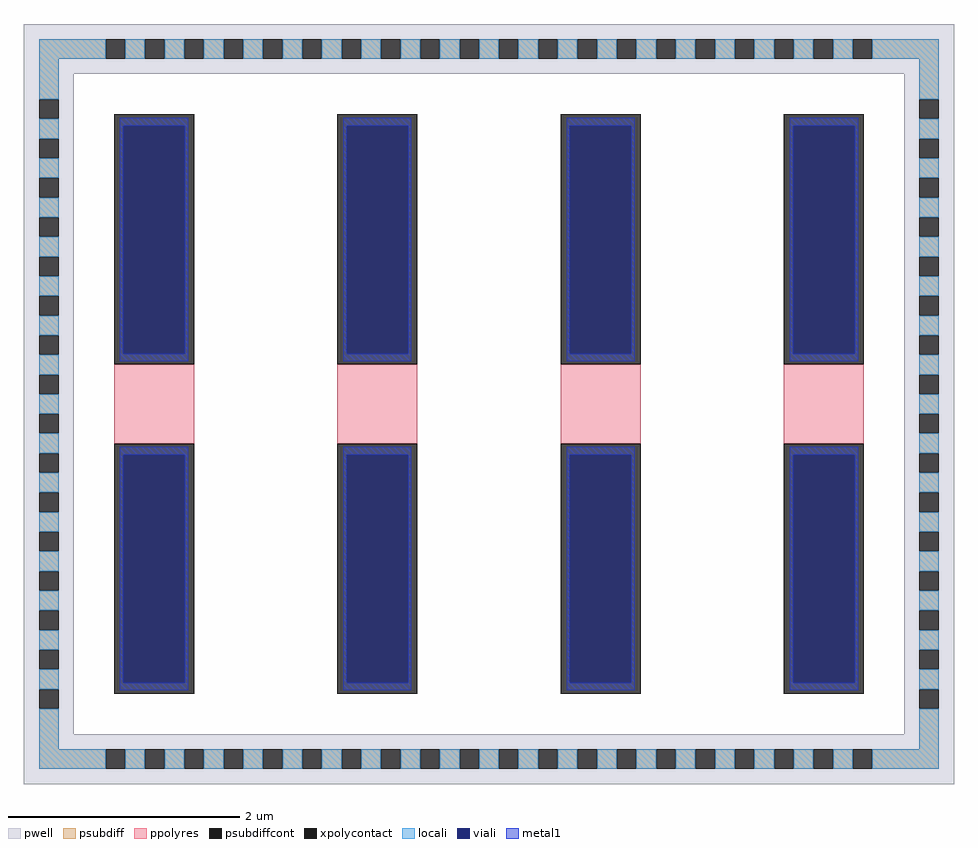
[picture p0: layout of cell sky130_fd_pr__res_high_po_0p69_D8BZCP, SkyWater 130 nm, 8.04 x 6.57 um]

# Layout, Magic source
magic
tech sky130A
magscale 1 2
<< pwell >>
rect -804 571 804 657
rect -804 -571 -718 571
rect 718 -571 804 571
rect -804 -657 804 -571
<< psubdiff >>
rect -778 597 -663 631
rect -629 597 -595 631
rect -561 597 -527 631
rect -493 597 -459 631
rect -425 597 -391 631
rect -357 597 -323 631
rect -289 597 -255 631
rect -221 597 -187 631
rect -153 597 -119 631
rect -85 597 -51 631
rect -17 597 17 631
rect 51 597 85 631
rect 119 597 153 631
rect 187 597 221 631
rect 255 597 289 631
rect 323 597 357 631
rect 391 597 425 631
rect 459 597 493 631
rect 527 597 561 631
rect 595 597 629 631
rect 663 597 778 631
rect -778 527 -744 597
rect 744 527 778 597
rect -778 459 -744 493
rect -778 391 -744 425
rect -778 323 -744 357
rect -778 255 -744 289
rect -778 187 -744 221
rect -778 119 -744 153
rect -778 51 -744 85
rect -778 -17 -744 17
rect -778 -85 -744 -51
rect -778 -153 -744 -119
rect -778 -221 -744 -187
rect -778 -289 -744 -255
rect -778 -357 -744 -323
rect -778 -425 -744 -391
rect -778 -493 -744 -459
rect 744 459 778 493
rect 744 391 778 425
rect 744 323 778 357
rect 744 255 778 289
rect 744 187 778 221
rect 744 119 778 153
rect 744 51 778 85
rect 744 -17 778 17
rect 744 -85 778 -51
rect 744 -153 778 -119
rect 744 -221 778 -187
rect 744 -289 778 -255
rect 744 -357 778 -323
rect 744 -425 778 -391
rect 744 -493 778 -459
rect -778 -597 -744 -527
rect 744 -597 778 -527
rect -778 -631 -663 -597
rect -629 -631 -595 -597
rect -561 -631 -527 -597
rect -493 -631 -459 -597
rect -425 -631 -391 -597
rect -357 -631 -323 -597
rect -289 -631 -255 -597
rect -221 -631 -187 -597
rect -153 -631 -119 -597
rect -85 -631 -51 -597
rect -17 -631 17 -597
rect 51 -631 85 -597
rect 119 -631 153 -597
rect 187 -631 221 -597
rect 255 -631 289 -597
rect 323 -631 357 -597
rect 391 -631 425 -597
rect 459 -631 493 -597
rect 527 -631 561 -597
rect 595 -631 629 -597
rect 663 -631 778 -597
<< psubdiffcont >>
rect -663 597 -629 631
rect -595 597 -561 631
rect -527 597 -493 631
rect -459 597 -425 631
rect -391 597 -357 631
rect -323 597 -289 631
rect -255 597 -221 631
rect -187 597 -153 631
rect -119 597 -85 631
rect -51 597 -17 631
rect 17 597 51 631
rect 85 597 119 631
rect 153 597 187 631
rect 221 597 255 631
rect 289 597 323 631
rect 357 597 391 631
rect 425 597 459 631
rect 493 597 527 631
rect 561 597 595 631
rect 629 597 663 631
rect -778 493 -744 527
rect -778 425 -744 459
rect -778 357 -744 391
rect -778 289 -744 323
rect -778 221 -744 255
rect -778 153 -744 187
rect -778 85 -744 119
rect -778 17 -744 51
rect -778 -51 -744 -17
rect -778 -119 -744 -85
rect -778 -187 -744 -153
rect -778 -255 -744 -221
rect -778 -323 -744 -289
rect -778 -391 -744 -357
rect -778 -459 -744 -425
rect -778 -527 -744 -493
rect 744 493 778 527
rect 744 425 778 459
rect 744 357 778 391
rect 744 289 778 323
rect 744 221 778 255
rect 744 153 778 187
rect 744 85 778 119
rect 744 17 778 51
rect 744 -51 778 -17
rect 744 -119 778 -85
rect 744 -187 778 -153
rect 744 -255 778 -221
rect 744 -323 778 -289
rect 744 -391 778 -357
rect 744 -459 778 -425
rect 744 -527 778 -493
rect -663 -631 -629 -597
rect -595 -631 -561 -597
rect -527 -631 -493 -597
rect -459 -631 -425 -597
rect -391 -631 -357 -597
rect -323 -631 -289 -597
rect -255 -631 -221 -597
rect -187 -631 -153 -597
rect -119 -631 -85 -597
rect -51 -631 -17 -597
rect 17 -631 51 -597
rect 85 -631 119 -597
rect 153 -631 187 -597
rect 221 -631 255 -597
rect 289 -631 323 -597
rect 357 -631 391 -597
rect 425 -631 459 -597
rect 493 -631 527 -597
rect 561 -631 595 -597
rect 629 -631 663 -597
<< xpolycontact >>
rect -648 69 -510 501
rect -648 -501 -510 -69
rect -262 69 -124 501
rect -262 -501 -124 -69
rect 124 69 262 501
rect 124 -501 262 -69
rect 510 69 648 501
rect 510 -501 648 -69
<< ppolyres >>
rect -648 -69 -510 69
rect -262 -69 -124 69
rect 124 -69 262 69
rect 510 -69 648 69
<< locali >>
rect -778 597 -663 631
rect -629 597 -595 631
rect -561 597 -527 631
rect -493 597 -459 631
rect -425 597 -391 631
rect -357 597 -323 631
rect -289 597 -255 631
rect -221 597 -187 631
rect -153 597 -119 631
rect -85 597 -51 631
rect -17 597 17 631
rect 51 597 85 631
rect 119 597 153 631
rect 187 597 221 631
rect 255 597 289 631
rect 323 597 357 631
rect 391 597 425 631
rect 459 597 493 631
rect 527 597 561 631
rect 595 597 629 631
rect 663 597 778 631
rect -778 527 -744 597
rect 744 527 778 597
rect -778 459 -744 493
rect -778 391 -744 425
rect -778 323 -744 357
rect -778 255 -744 289
rect -778 187 -744 221
rect -778 119 -744 153
rect -778 51 -744 85
rect 744 459 778 493
rect 744 391 778 425
rect 744 323 778 357
rect 744 255 778 289
rect 744 187 778 221
rect 744 119 778 153
rect -778 -17 -744 17
rect -778 -85 -744 -51
rect 744 51 778 85
rect 744 -17 778 17
rect -778 -153 -744 -119
rect -778 -221 -744 -187
rect -778 -289 -744 -255
rect -778 -357 -744 -323
rect -778 -425 -744 -391
rect -778 -493 -744 -459
rect 744 -85 778 -51
rect 744 -153 778 -119
rect 744 -221 778 -187
rect 744 -289 778 -255
rect 744 -357 778 -323
rect 744 -425 778 -391
rect 744 -493 778 -459
rect -778 -597 -744 -527
rect 744 -597 778 -527
rect -778 -631 -663 -597
rect -629 -631 -595 -597
rect -561 -631 -527 -597
rect -493 -631 -459 -597
rect -425 -631 -391 -597
rect -357 -631 -323 -597
rect -289 -631 -255 -597
rect -221 -631 -187 -597
rect -153 -631 -119 -597
rect -85 -631 -51 -597
rect -17 -631 17 -597
rect 51 -631 85 -597
rect 119 -631 153 -597
rect 187 -631 221 -597
rect 255 -631 289 -597
rect 323 -631 357 -597
rect 391 -631 425 -597
rect 459 -631 493 -597
rect 527 -631 561 -597
rect 595 -631 629 -597
rect 663 -631 778 -597
<< viali >>
rect -632 87 -526 481
rect -246 87 -140 481
rect 140 87 246 481
rect 526 87 632 481
rect -632 -482 -526 -88
rect -246 -482 -140 -88
rect 140 -482 246 -88
rect 526 -482 632 -88
<< metal1 >>
rect -638 481 -520 495
rect -638 87 -632 481
rect -526 87 -520 481
rect -638 74 -520 87
rect -252 481 -134 495
rect -252 87 -246 481
rect -140 87 -134 481
rect -252 74 -134 87
rect 134 481 252 495
rect 134 87 140 481
rect 246 87 252 481
rect 134 74 252 87
rect 520 481 638 495
rect 520 87 526 481
rect 632 87 638 481
rect 520 74 638 87
rect -638 -88 -520 -74
rect -638 -482 -632 -88
rect -526 -482 -520 -88
rect -638 -495 -520 -482
rect -252 -88 -134 -74
rect -252 -482 -246 -88
rect -140 -482 -134 -88
rect -252 -495 -134 -482
rect 134 -88 252 -74
rect 134 -482 140 -88
rect 246 -482 252 -88
rect 134 -495 252 -482
rect 520 -88 638 -74
rect 520 -482 526 -88
rect 632 -482 638 -88
rect 520 -495 638 -482
<< properties >>
string FIXED_BBOX -761 -614 761 614
<< end >>
